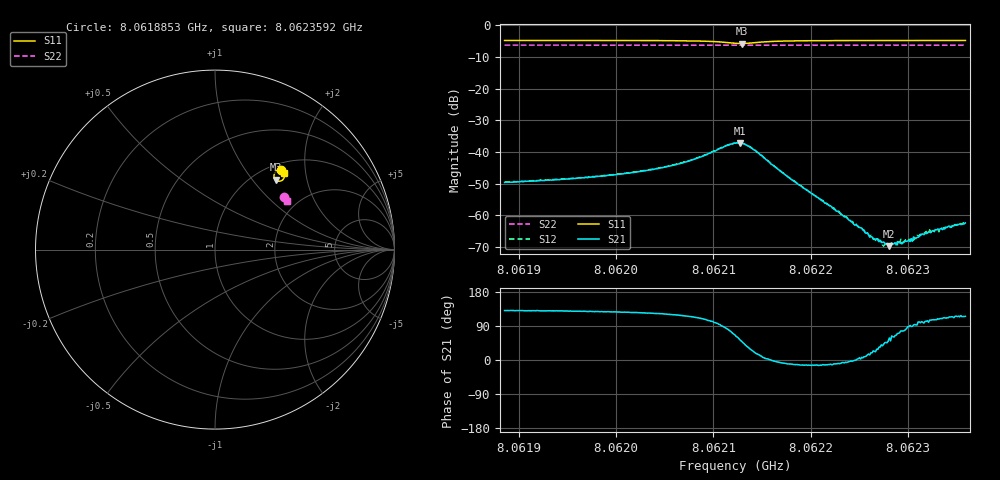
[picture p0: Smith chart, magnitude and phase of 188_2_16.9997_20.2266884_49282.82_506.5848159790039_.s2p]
#  HZ  S  RI  R  50.00
! Rohde & Schwarz Vector Network Analyzer
! Rohde-Schwarz,ZNB20-2Port,1311601062101988,3.16
! Created: UTC 3/20/2024, 11:00:26 PM
! freq[Hz]  re:S11  im:S11  re:S21  im:S21  re:S12  im:S12  re:S22  im:S22
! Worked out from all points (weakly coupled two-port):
!   401 points, 8.0618853 GHz to 8.0623592 GHz, reference 50 ohm
!   highest |S21| = -37.13 dB at 8.062127 GHz (marker M1); lowest = -69.7 dB at 8.062281 GHz (marker M2)
!   lowest |S11| = -5.8 dB at 8.0621293 GHz (marker M3), VSWR 3.13, Z = 62.2 + j65.9 ohm
!   |S11| at or under -10 dB: nowhere
!   |S22| runs from -6.3 to -6.3 dB; largest |S21 - S12| = 0.001
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8.06188526e9  0.369 0.4421  -0.00214 0.00251  -0.002 0.00265  0.3871 0.2941
8.06196464e9  0.3752 0.4361  -0.00244 0.00308  -0.00226 0.00322  0.39 0.29
8.06200611e9  0.3789 0.4319  -0.00265 0.00365  -0.00244 0.00381  0.3914 0.2881
8.06204403e9  0.383 0.4257  -0.00296 0.00467  -0.00269 0.00491  0.3928 0.286
8.06207602e9  0.3866 0.4155  -0.00305 0.00662  -0.00268 0.00687  0.3937 0.284
8.06210446e9  0.382 0.394  -0.00117 0.0109  -0.000429 0.0111  0.3941 0.2818
8.06212223e9  0.3537 0.3812  0.00559 0.0126  0.00642 0.0122  0.393 0.2808
8.06212697e9  0.3424 0.3854  0.00817 0.0113  0.00879 0.0108  0.3928 0.2809
8.06212934e9  0.3375 0.3892  0.00902 0.0102  0.00971 0.00969  0.3929 0.281
8.06214e9  0.3288 0.4125  0.0103 0.00478  0.0106 0.00404  0.3931 0.2818
8.06217199e9  0.3529 0.439  0.00454 -0.000642  0.00454 -0.000952  0.3955 0.281
8.06220161e9  0.3655 0.4385  0.00211 -0.000505  0.00211 -0.000659  0.3972 0.2796
8.06223597e9  0.3729 0.4359  0.000939 -9.65e-05  0.000939 -0.000166  0.3985 0.2777
8.0622656e9  0.3772 0.4336  0.000391 0.000163  0.000398 0.000135  0.3995 0.276
8.06227034e9  0.3776 0.4334  0.000319 0.000215  0.000371 0.000166  0.3997 0.2759
8.06227626e9  0.3783 0.4329  0.000256 0.00026  0.00028 0.000207  0.4 0.2756
8.062281e9  0.3789 0.4325  0.000174 0.000279  0.000222 0.000271  0.4 0.2753
8.06228692e9  0.3795 0.432  0.000161 0.000333  0.000103 0.000328  0.4003 0.2749
8.06229285e9  0.3802 0.4317  8.25e-05 0.000351  0.000123 0.000403  0.4005 0.2748
8.06230588e9  0.3814 0.431  -1.94e-05 0.000455  -1.43e-05 0.000405  0.4009 0.2741
8.06231654e9  0.3823 0.4302  -6.39e-05 0.000489  -6.91e-05 0.000513  0.4013 0.2735
8.0623592e9  0.3857 0.4275  -0.000323 0.000685  -0.0003 0.000688  0.4026 0.2714
